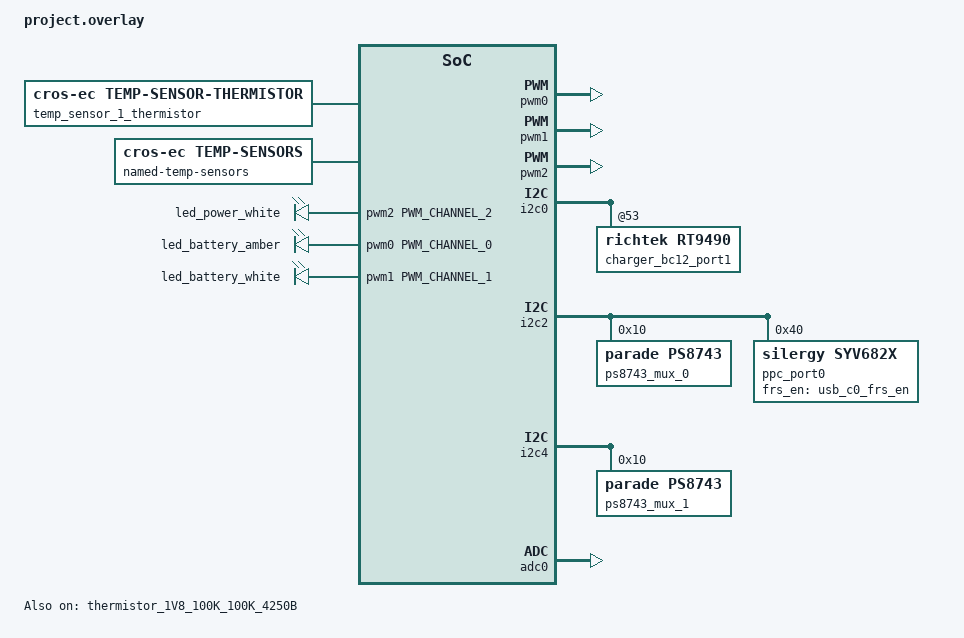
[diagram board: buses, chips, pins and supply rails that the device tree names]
/* Copyright 2024 The ChromiumOS Authors
 * Use of this source code is governed by a BSD-style license that can be
 * found in the LICENSE file.
 */

/* Corsola program common DTS includes */

#include "../common.dtsi"
#include "../power_signal.dtsi"
#include "../ite_adc.dtsi"
#include "../ite_gpio.dtsi"
#include "../ite_i2c.dtsi"
#include "../ite_interrupts.dtsi"
#include "../ite_usbc.dtsi"
#include "../ite_shi.dtsi"
#include "./thermistor.dtsi"
#include "../ite_keyboard.dtsi"
#include "../usba.dtsi"
#include <dt-bindings/battery.h>
#include <cros/thermistor/thermistor.dtsi>
#include <dt-bindings/motionsense/utils.h>


/ {
	batteries {
		default_battery: nb0346-427689 {
			compatible = "gfl,nb0346-427689", "battery-smart";
		};
	};

	gpio-interrupts {
		/delete-node/ usb_c1_bc12_charger;
		/delete-node/ lid_imu;
		/delete-node/ tablet_mode;

		int_base_imu: base_imu {
			irq-pin = <&base_imu_int_l>;
			flags = <GPIO_INT_EDGE_FALLING>;
			handler = "motion_interrupt";
		};

		int_pmic_ec_resetb: pmic-ec-resetb {
			irq-pin = <&pmic_ec_resetb>;
			flags = <GPIO_INT_EDGE_BOTH>;
			handler = "power_signal_interrupt";
		};

		int_pg_pp4200_s5: pg-pp4200-s5 {
			irq-pin = <&pg_pp4200_s5_od>;
			flags = <GPIO_INT_EDGE_BOTH>;
			handler = "power_signal_interrupt";
		};

		usb_c0_ppc_bc12 {
			handler = "ppc_interrupt";
		};
	};

	named-gpios {
		/delete-node/ lid_accel_int_l;
		/delete-node/ usb_c0_ppc_frsinfo;
		/delete-node/ entering_rw;
		/delete-node/ tablet_mode_l;
		/delete-node/ usb_c1_bc12_charger_int_odl;

		usb_a0_fault_odl: usb_a0_fault_odl {
			gpios = <&gpioa 6 GPIO_INPUT>;
		};

		en_pp5000_usb_a0_vbus: en_pp5000_usb_a0_vbus {
			gpios = <&gpioa 7 GPIO_OUTPUT_LOW>;
		};

		gpio_hdmi_prsnt_odl: hdmi_prsnt_odl {
			gpios = <&gpioj 3 GPIO_INPUT_PULL_UP>;
		};

		en_pp5000_z2: en_pp5000_z2 {
			gpios = <&gpioc 6 GPIO_OUTPUT_LOW>;
		};

		en_pp5000_base_x: en_pp5000_base_x{
			gpios = <&gpiod 7 GPIO_OUTPUT_LOW>;
		};

		usb_c0_dp_in_hpd: usb-c0-dp-in-hpd {
			gpios = <&gpioh 6 GPIO_OUTPUT_LOW>;
		};

		en_pp4200_s5: en-pp4200-s5 {
			gpios = <&gpiob 7 GPIO_OUTPUT_LOW>;
		};

		pg_pp4200_s5_od: pg-pp4200-s5-od {
			gpios = <&gpioc 5 GPIO_INPUT>;
			enum-name = "GPIO_PG_PP4200_S5_OD";
		};

		pmic_ec_resetb: pmic-ec-resetb {
			gpios = <&gpioj 6 (GPIO_INPUT | GPIO_VOLTAGE_1P8 |
					   GPIO_ACTIVE_LOW)>;
			enum-name = "GPIO_PMIC_EC_RESETB";
		};

		/*
		 * Not used, only to make system.c compilable.
		 * TODO: find a better way to remove this.
		 */
		entering_rw: entering-rw {
			enum-name = "GPIO_ENTERING_RW";
		};

		usb_c0_frs_en: usb_c0_frs_en {
			gpios = <&gpiof 0 GPIO_OUTPUT_LOW>;
			enum-name = "GPIO_USB_C0_FRS_EN";
		};
	};

	unused-pins {
		unused-gpios =
			/* adp_on_n */
			<&gpioa 3 GPIO_INPUT>,
			/* ec_pen_chg_dis_odl */
			<&gpioh 3 GPIO_INPUT>,
			/* adp_present */
			<&gpiom 2 GPIO_INPUT>,
			/* pg_pp5000_z1_od */
			<&gpiod 2 GPIO_INPUT>,
			/* charge_en */
			<&gpioe 1 GPIO_INPUT>,
			/* ec_en_pp3300_wcam */
			<&gpiof 1 GPIO_INPUT>,
			/* unused nc pins */
			<&gpiog 2 GPIO_INPUT_PULL_DOWN>,
			<&gpioh 0 GPIO_INPUT_PULL_DOWN>,	//EC_AP_RSVD1_ODL
			<&gpioi 3 GPIO_INPUT_PULL_DOWN>,	//EC_AP_RSVD0_ODL
			<&gpioj 4 GPIO_INPUT_PULL_DOWN>,	//USB_C1_BC12_CHARGER_INT_ODL
			/* spi_clk_gpg6 */
			<&gpiog 6 GPIO_INPUT_PULL_UP>,
			/* spi_mosi_gpg4 */
			<&gpiog 4 GPIO_OUTPUT_LOW>,
			/* spi_miso_gpg5 */
			<&gpiog 5 GPIO_OUTPUT_LOW>,
			/* spi_cs_gpg7 */
			<&gpiog 7 GPIO_OUTPUT_LOW>;
	};

	/delete-node/ cros-keyscan;

	/* Wugtrio-specific ssfc fields. */
	Wugtrio-ssfc {
		compatible = "cros-ec,cbi-ssfc";

		/* SSFC field to identify BASE motion sensor. */
		lid-sensor {
			enum-name = "BASE_SENSOR";
			size = <3>;

			lid_sensor_0: bmi323 {
				compatible = "cros-ec,cbi-ssfc-value";
				status = "okay";
				value = <1>;
				default;
			};
			lid_sensor_1: lsm6dsm {
				compatible = "cros-ec,cbi-ssfc-value";
				status = "okay";
				value = <2>;
			};
		};
	};

	aliases {
		/*
		 * motion sense's <>_INT_EVENT is handled
		 * by alias. Using the alias, each driver creates
		 * its own <>_INT_EVENT.
		 */
		bmi3xx-int = &lid_accel;
		lsm6dsm-int = &lid_accel;
	};

	motionsense-mutex {
		compatible = "cros-ec,motionsense-mutex";
		lid_mutex_bmi323: bmi323-mutex {
		};
		lid_mutex_lsm6dsm: lsm6dsm-mutex {
		};
	};

	/* Rotation matrix used by drivers. */
	motionsense-rotation-ref {
		compatible = "cros-ec,motionsense-rotation-ref";
		lid_rot_ref_bmi: lid-rotation-ref-bmi {
			mat33 = <(-1) 0 0
				 0 1 0
				 0 0 (-1)>;
		};
		lid_rot_ref_lsm6dsm: lid-rotation-ref-lsm6dsm {
			mat33 = <0 (-1) 0
				 (-1) 0 0
				 0 0 (-1)>;
		};
	};

	motionsense-sensor-data {
		bmi323_data: bmi323-drv-data {
			compatible = "cros-ec,drvdata-bmi3xx";
			status = "okay";
		};
		lsm6dsm_data: lsm6dsm-drv-data {
			compatible = "cros-ec,drvdata-lsm6dsm";
			status = "okay";
		};
	};

	motionsense-sensor {
		/delete-node/ base-accel;
		/delete-node/ base-gyro;

		lid_accel: lid-accel {
			compatible = "cros-ec,bmi3xx-accel";
			status = "okay";

			active-mask = "SENSOR_ACTIVE_S0_S3";
			location = "MOTIONSENSE_LOC_LID";
			mutex = <&lid_mutex_bmi323>;
			port = <&i2c_sensor>;
			rot-standard-ref = <&lid_rot_ref_bmi>;
			default-range = <2>;
			drv-data = <&bmi323_data>;
			configs {
				compatible =
					"cros-ec,motionsense-sensor-config";
				ec-s0 {
					odr = <(10000 | ROUND_UP_FLAG)>;
				};
				ec-s3 {
					odr = <(10000 | ROUND_UP_FLAG)>;
				};
			};
		};

		lid_gyro: lid-gyro {
			compatible = "cros-ec,bmi3xx-gyro";
			status = "okay";

			active-mask = "SENSOR_ACTIVE_S0_S3";
			location = "MOTIONSENSE_LOC_LID";
			mutex = <&lid_mutex_bmi323>;
			port = <&i2c_sensor>;
			rot-standard-ref = <&lid_rot_ref_bmi>;
			drv-data = <&bmi323_data>;
		};
	};

	motionsense-sensor-alt {
		alt_lid_accel: alt-lid-accel {
			compatible = "cros-ec,lsm6dsm-accel";
			status = "okay";

			active-mask = "SENSOR_ACTIVE_S0_S3";
			location = "MOTIONSENSE_LOC_LID";
			mutex = <&lid_mutex_lsm6dsm>;
			port = <&i2c_sensor>;
			rot-standard-ref = <&lid_rot_ref_lsm6dsm>;
			drv-data = <&lsm6dsm_data>;
			alternate-for = <&lid_accel>;
			alternate-ssfc-indicator = <&lid_sensor_1>;
			configs {
				compatible =
					"cros-ec,motionsense-sensor-config";
				ec-s0 {
					odr = <(12500 | ROUND_UP_FLAG)>;
					ec-rate = <(100 * USEC_PER_MSEC)>;
				};
				ec-s3 {
					odr = <(12500 | ROUND_UP_FLAG)>;
					ec-rate = <0>;
				};
			};
		};

		alt_lid_gyro: alt-lid-gyro {
			compatible = "cros-ec,lsm6dsm-gyro";
			status = "okay";

			active-mask = "SENSOR_ACTIVE_S0_S3";
			location = "MOTIONSENSE_LOC_LID";
			mutex = <&lid_mutex_lsm6dsm>;
			port = <&i2c_sensor>;
			rot-standard-ref = <&lid_rot_ref_lsm6dsm>;
			default-range = <(1000 | ROUND_UP_FLAG)>; /* dps */
			drv-data = <&lsm6dsm_data>;
			alternate-for = <&lid_gyro>;
			alternate-ssfc-indicator = <&lid_sensor_1>;
		};
	};

	motionsense-sensor-info {
		compatible = "cros-ec,motionsense-sensor-info";

		/*
		 * list of GPIO interrupts that have to
		 * be enabled at initial stage
		 */
		sensor-irqs = <&int_base_imu>;
	};

	power_signal_list: power-signal-list {
		compatible = "mediatek,mt8188-power-signal-list";

		pg_pp4200_s5 {
			power-enum-name = "PG_PP4200_S5";
			power-gpio-pin = <&pg_pp4200_s5_od>;
		};
		pmic_ap_reset {
			power-enum-name = "PMIC_AP_RST";
			power-gpio-pin = <&pmic_ec_resetb>;
		};
	};

	named-adc-channels {
		adc_temp_sensor_1: adc-temp-sensor-1 {
			enum-name = "ADC_TEMP_SENSOR_1";
			io-channels = <&adc0 5>;
		};
		adc_base_det: adc-base-det {
			enum-name = "ADC_BASE_DET";
			io-channels = <&adc0 6>;
		};
	};

	temp_sensor_1_thermistor: sensor-1-thermistor {
		compatible = "cros-ec,temp-sensor-thermistor";
		thermistor = <&thermistor_1V8_100K_100K_4250B>;
		adc = <&adc_temp_sensor_1>;
	};


	named-temp-sensors {
		compatible = "cros-ec,temp-sensors";
		temp_sensor_1 {
			sensor = <&temp_sensor_1_thermistor>;
		};
		temp_charger: charger {
			sensor = <&charger_bc12_port1>;
		};
	};
	/*
	 * The hardware design sets PWM0 as the amber light,
	 * PWM1 as the white light and PWM2 as none.
	 */
	pwmleds{
		compatible = "pwm-leds";

		led_power_white: ec_led1_odl {
			pwms = <&pwm2 PWM_CHANNEL_2 PWM_HZ(324) 0>;
		};
		led_battery_amber: ec_led2_odl {
			pwms = <&pwm0 PWM_CHANNEL_0 PWM_HZ(324) PWM_POLARITY_INVERTED>;
		};
		led_battery_white: ec_led3_odl {
			pwms = <&pwm1 PWM_CHANNEL_1 PWM_HZ(324) PWM_POLARITY_INVERTED>;
		};
	};

	pwm-led-pins {
		compatible = "cros-ec,pwm-led-pins";

		battery_led: battery-led {
			led-id = "EC_LED_ID_BATTERY_LED";
			led-pwms = <&led_battery_amber &led_battery_white>;

			color-battery-off {
				led-color = "LED_OFF";
				led-values = <0 0>;
			};

			color-battery-amber {
				led-color = "LED_AMBER";
				led-values = <100 0>;
			};

			color-battery-white {
				led-color = "LED_WHITE";
				led-values = <0 100>;
			};
		};

		power_led: power-led {
			led-id = "EC_LED_ID_POWER_LED";
			led-pwms = <&led_power_white>;

			color-power-white {
				led-color = "LED_WHITE";
				led-values = <100>;
			};

			color-power-off {
				led-color = "LED_OFF";
				led-values = <0>;
			};
		};
	};

	led-colors {
		compatible = "cros-ec,led-policy";

		sysrq-alias = "EC_LED_ID_BATTERY_LED";
		sysrq-led-control-color = "LED_WHITE";

		recovery-hw-reinit-alias = "EC_LED_ID_BATTERY_LED";
		recovery-hw-reinit-led-control-color = "LED_AMBER";

		bat-state-charge {
			charge-state = "LED_PWRS_CHARGE";

			battery-led {
				led-id = "EC_LED_ID_BATTERY_LED";
				color-0 {
					led-color = "LED_AMBER";
				};
			};
		};

		bat-state-charge-near-full {
			charge-state = "LED_PWRS_CHARGE_NEAR_FULL";

			battery-led {
				led-id = "EC_LED_ID_BATTERY_LED";

				color-0 {
					led-color = "LED_WHITE";
				};
			};
		};

		bat-state-discharge-lvl-1 {
			charge-state = "LED_PWRS_DISCHARGE";
			/* Battery percent range (<= 5%) */
			batt-lvl = <BATTERY_LEVEL_EMPTY BATTERY_LEVEL_CRITICAL>;

			battery-led {
				led-id = "EC_LED_ID_BATTERY_LED";

				color-0 {
					led-color = "LED_AMBER";
					period-ms = <1000>;
				};

				color-1 {
					led-color = "LED_OFF";
					period-ms = <1000>;
				};
			};
		};

		bat-state-discharge-lvl-2 {
			charge-state = "LED_PWRS_DISCHARGE";
			/* Battery percent range (>= 6%) */
			batt-lvl = <(BATTERY_LEVEL_CRITICAL + 1) BATTERY_LEVEL_FULL>;

			battery-led {
				led-id = "EC_LED_ID_BATTERY_LED";

				color-0 {
					led-color = "LED_OFF";
				};
			};
		};

		bat-state-error {
			charge-state = "LED_PWRS_ERROR";

			battery-led {
				led-id = "EC_LED_ID_BATTERY_LED";

				color-0 {
					led-color = "LED_AMBER";
					period-ms = <1000>;
				};

				color-1 {
					led-color = "LED_WHITE";
					period-ms = <1000>;
				};
			};
		};

		bat-state-charge-idle {
			charge-state = "LED_PWRS_IDLE";

			battery-led {
				led-id = "EC_LED_ID_BATTERY_LED";

				color-0 {
					led-color = "LED_WHITE";
					period-ms = <1000>;
				};

				color-1 {
					led-color = "LED_OFF";
					period-ms = <1000>;
				};
			};
		};

		bat-state-charge-forced-idle {
			charge-state = "LED_PWRS_FORCED_IDLE";

			battery-led {
				led-id = "EC_LED_ID_BATTERY_LED";

				color-0 {
					led-color = "LED_AMBER";
					period-ms = <2000>;
				};
				color-1 {
					led-color = "LED_WHITE";
					period-ms = <2000>;
				};
			};
		};

		pwr-state-on-s0 {
			chipset-state = "POWER_S0";

			power-led {
				led-id = "EC_LED_ID_POWER_LED";
				color-0 {
					led-color = "LED_WHITE";
				};
			};
		};

		pwr-state-off-s3 {
			chipset-state = "POWER_S3";

			power-led {
				led-id = "EC_LED_ID_POWER_LED";
				color-0 {
					led-color = "LED_OFF";
				};
			};
		};

		pwr-state-off-s5 {
			chipset-state = "POWER_S5";

			power-led {
				led-id = "EC_LED_ID_POWER_LED";
				color-0 {
					led-color = "LED_OFF";
				};
			};
		};
	};

	usbc {
		port0@0{
			/delete-property/ bc12;
			ppc = <&ppc_port0>;
			usb-mux-chain-0{
				usb-muxes = <&ps8743_mux_0 &virtual_mux_0>;
			};
		};

		port1@1{
			/delete-property/ bc12;
			usb-mux-chain-1{
				usb-muxes = <&ps8743_mux_1 &virtual_mux_1>;
			};
		};
	};
};

/* LED1 */
&pwm0 {
	status = "okay";
	prescaler-cx = <PWM_PRESCALER_C4>;
	pinctrl-0 = <&pwm0_gpa0_default>;
	pinctrl-names = "default";
};

/* LED2 */
&pwm1 {
	status = "okay";
	prescaler-cx = <PWM_PRESCALER_C4>;
	pinctrl-0 = <&pwm1_gpa1_default>;
	pinctrl-names = "default";
};

/* LED3 */
&pwm2 {
	status = "okay";
	prescaler-cx = <PWM_PRESCALER_C4>;
	pinctrl-0 = <&pwm2_gpa2_default>;
	pinctrl-names = "default";
};

&i2c0{
	charger_bc12_port1: rt9490@53{
		compatible = "richtek,rt9490";
		thermistor = <&thermistor_rt9490>;
		/delete-property/ irq;
	};
};

&i2c2 {
	ps8743_mux_0: ps8743-mux-0@10 {
		compatible = "parade,ps8743";
		reg = <0x10>;
	};

	ppc_port0: syv682x@40 {
		compatible = "silergy,syv682x";
		status = "okay";
		reg = <0x40>;
		frs_en_gpio = <&usb_c0_frs_en>;
	};

	/delete-node/ it5205-mux-0@48;
	/delete-node/ rt1739@70;
};

&i2c3 {
	prescale-scl-low = <4>;
};

&i2c4 {
	ps8743_mux_1: ps8743-mux-1@10 {
		compatible = "parade,ps8743";
		reg = <0x10>;
	};

	/delete-node/ tusb1064-mux-1@44;
};

&adc0 {
	status = "okay";
	pinctrl-0 = <&adc0_ch0_gpi0_default
		     &adc0_ch5_gpi5_default
		     &adc0_ch6_gpi6_default
		     &adc0_ch7_gpi7_default>;
	pinctrl-names = "default";
};

&thermistor_1V8_100K_100K_4250B{
	status = "okay";
};
